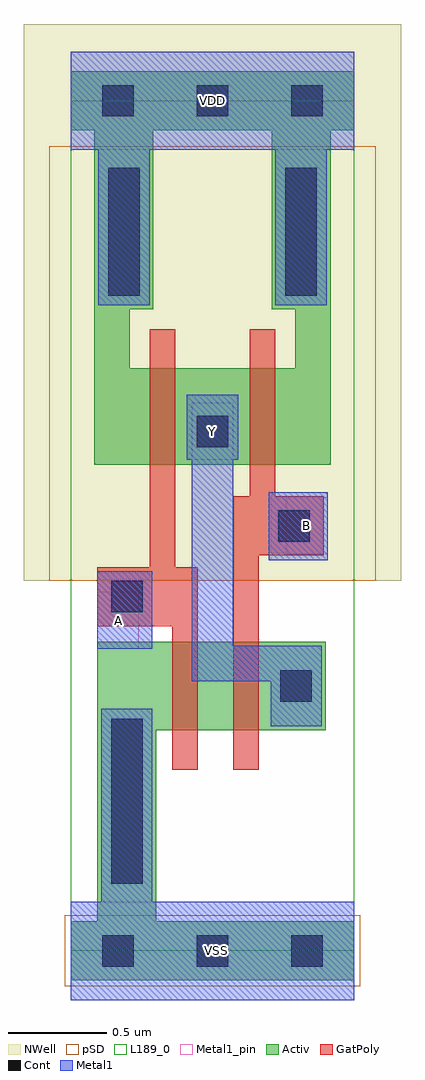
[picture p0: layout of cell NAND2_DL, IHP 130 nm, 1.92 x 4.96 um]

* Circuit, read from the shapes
.subckt NAND2_DL A B VDD VSS Y
XM1 n1 A VSS VSS sg13_lv_nmos w=0.45u l=0.13u
XM2 Y B n1 VSS sg13_lv_nmos w=0.45u l=0.13u
XM3 Y A VDD VDD sg13_lv_pmos w=0.49u l=0.13u
XM4 VDD B Y VDD sg13_lv_pmos w=0.49u l=0.13u
.ends

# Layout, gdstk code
import gdstk
lib = gdstk.Library(unit=1e-6, precision=1e-09)
def R(c, l, rs):  # rectangles x0, y0, x1, y1
    for r in rs: c.add(gdstk.rectangle(r[:2], r[2:], *l))
def A(c, l, x, y, w, h, nx, ny, dx, dy):  # array of equal rectangles
    R(c, l, [(x+i*dx, y+j*dy, x+i*dx+w, y+j*dy+h) for i in range(nx) for j in range(ny)])
def P(c, l, *ps):  # polygons
    for p in ps: c.add(gdstk.Polygon(p, *l))
Activ = (1, 0)
GatPoly = (5, 0)
Cont = (6, 0)
Metal1 = (8, 0)
Metal1_pin = (8, 2)
pSD = (14, 0)
NWell = (31, 0)
L189_0 = (189, 0)

nand2_dl = lib.new_cell('NAND2_DL')
P(nand2_dl, Activ, [(0,-0.15),(0,0.15),(0.135,0.15),(0.135,1.57),(1.295,1.57),(1.295,1.12),(0.435,1.12),(0.435,0.15),(1.44,0.15),(1.44,-0.15)],
  [(0.12,2.47),(0.12,4.17),(0.42,4.17),(0.42,3.26),(0.3,3.26),(0.3,2.96),(1.14,2.96),(1.14,3.26),(1.02,3.26),(1.02,4.17),(0,4.17),(0,4.47),(1.44,4.47),(1.44,4.17),(1.32,4.17),(1.32,2.47)])
P(nand2_dl, GatPoly, [(0.825,0.92),(0.825,2.31),(0.91,2.31),(0.91,3.16),(1.04,3.16),(1.04,2.31),(1.285,2.31),(1.285,2.01),(0.955,2.01),(0.955,0.92)],
  [(0.515,0.92),(0.515,1.65),(0.135,1.65),(0.135,1.95),(0.4,1.95),(0.4,3.16),(0.53,3.16),(0.53,1.95),(0.645,1.95),(0.645,0.92)])
A(nand2_dl, Cont, 0.16, -0.08, 0.16, 0.16, 3, 2, 0.48, 4.32)
R(nand2_dl, Cont, [(0.205,0.34,0.365,1.18), (1.065,1.265,1.225,1.425), (0.205,1.72,0.365,1.88), (1.055,2.08,1.215,2.24), (0.64,2.56,0.8,2.72), (0.19,3.33,0.35,3.98), (1.09,3.33,1.25,3.98)])
R(nand2_dl, Metal1, [(0.135,1.535,0.415,1.93), (1.005,1.985,1.305,2.33)])
P(nand2_dl, Metal1, [(0,-0.25),(0,0.25),(0.155,0.25),(0.155,1.23),(0.415,1.23),(0.415,0.25),(1.44,0.25),(1.44,-0.25)],
  [(1.015,1.14),(1.015,1.37),(0.615,1.37),(0.615,2.495),(0.59,2.495),(0.59,2.825),(0.85,2.825),(0.85,2.495),(0.825,2.495),(0.825,1.55),(1.275,1.55),(1.275,1.14)],
  [(0.14,3.28),(0.14,4.07),(0,4.07),(0,4.57),(1.44,4.57),(1.44,4.07),(1.3,4.07),(1.3,3.28),(1.04,3.28),(1.04,4.07),(0.4,4.07),(0.4,3.28)])
R(nand2_dl, Metal1_pin, [(0,-0.25,1.44,0.25), (0.135,1.535,0.345,1.825), (1.095,2.015,1.305,2.305), (0.615,2.495,0.825,2.785), (0,4.07,1.44,4.57)])
R(nand2_dl, pSD, [(-0.03,-0.18,1.47,0.18), (-0.11,1.88,1.55,4.09)])
R(nand2_dl, NWell, [(-0.24,1.88,1.68,4.71)])
R(nand2_dl, L189_0, [(0,0,1.44,4.32)])
nand2_dl.add(gdstk.Label('VSS', (0.74,0), layer=8, texttype=25))
nand2_dl.add(gdstk.Label('VDD', (0.72,4.32), layer=8, texttype=25))
nand2_dl.add(gdstk.Label('A', (0.24,1.68), layer=8, texttype=25))
nand2_dl.add(gdstk.Label('B', (1.2,2.16), layer=8, texttype=25))
nand2_dl.add(gdstk.Label('Y', (0.72,2.64), layer=8, texttype=25))

lib.write_gds('NAND2_DL.gds')
